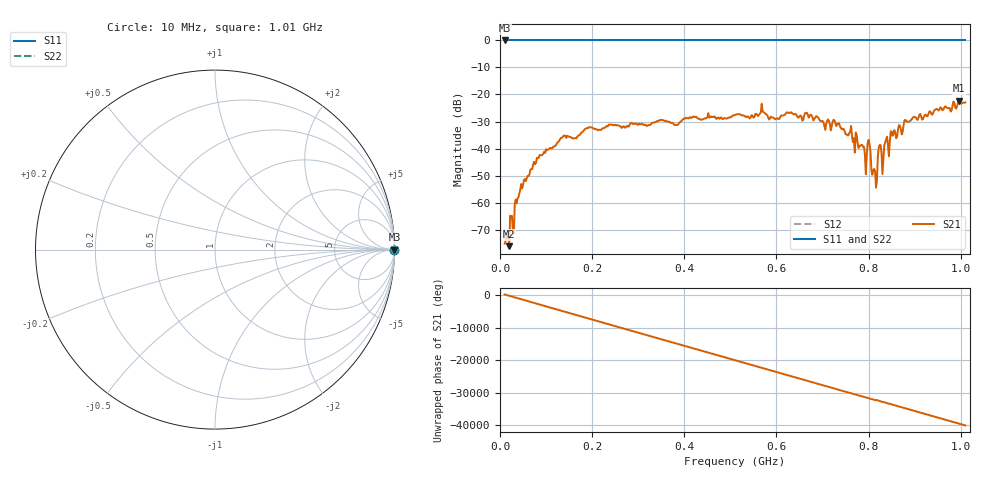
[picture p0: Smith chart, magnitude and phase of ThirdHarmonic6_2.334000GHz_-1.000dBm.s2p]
! 8/17/2025 3:24:13 AM
! C:\ANRITSUVNA\TEMP\TEMP.S2P
! CHANNEL.1
! TR.MEASUREMENT
! RAW.DATA
! RF.CORRECTION.OFF
! AVERAGING.OFF
! IF.BANDWIDTH: 5KHZ
! SWEEPTYPE:  FREQ.SWEEP(Linear)
! Reference Plane Port Info
! PORT:  PORT1  PORT2
! DISTANCE:  0  m  0  m
! TIME:  0  s  0  s
! PHASE.OFFSET:  0  deg.  0  deg.
! LOSS:  0  dB  0  dB
! REF.LOSS:  0  dB  0  dB
! REF.FREQ:  0  Hz  0  Hz
! Power Info
! POWER:  -20  dBm  -20  dBm
! EFF.POWER:  -20  dBm  -20  dBm
! SOURCE.ATTEN:  0  dB  0  dB
! TEST.ATTEN:  0  dB  0  dB
# GHZ S RI R 50.0
! FREQ.GHZ  S11RE  S11IM  S21RE  S21IM  S12RE  S12IM  S22RE  S22IM
!; PortSelection: Port_12
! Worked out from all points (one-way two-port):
!   501 points, 10 MHz to 1.01 GHz, reference 50 ohm
!   highest |S21| = -22.33 dB at 996 MHz (marker M1); lowest = -76.1 dB at 20 MHz (marker M2)
!   lowest |S11| = 0.0 dB at 10 MHz (marker M3)
!   |S11| at or under -10 dB: nowhere
!   |S22| runs from 0.0 to 0.0 dB; largest |S21 - S12| = 1.1
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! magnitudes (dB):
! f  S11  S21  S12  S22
! 10 MHz  0.0  -75.2  0.0  0.0
! 20 MHz  0.0  -76.1  0.0  0.0
! 48 MHz  0.0  -54.8  0.0  0.0
! 84 MHz  0.0  -43.4  0.0  0.0
! 136 MHz  0.0  -35.8  0.0  0.0
! 178 MHz  0.0  -34.0  0.0  0.0
! 344 MHz  0.0  -29.8  0.0  0.0
! 382 MHz  0.0  -31.3  0.0  0.0
! 510 MHz  0.0  -27.6  0.0  0.0
! 678 MHz  0.0  -28.4  0.0  0.0
! 760 MHz  0.0  -33.8  0.0  0.0
! 786 MHz  0.0  -38.6  0.0  0.0
! 792 MHz  0.0  -42.6  0.0  0.0
! 800 MHz  0.0  -36.8  0.0  0.0
! 814 MHz  0.0  -48.3  0.0  0.0
! 824 MHz  0.0  -38.7  0.0  0.0
! 832 MHz  0.0  -44.3  0.0  0.0
! 838 MHz  0.0  -36.6  0.0  0.0
! 844 MHz  0.0  -42.8  0.0  0.0
! 882 MHz  0.0  -29.9  0.0  0.0
! 996 MHz  0.0  -22.3  0.0  0.0
! 1.01 GHz  0.0  -22.9  0.0  0.0
